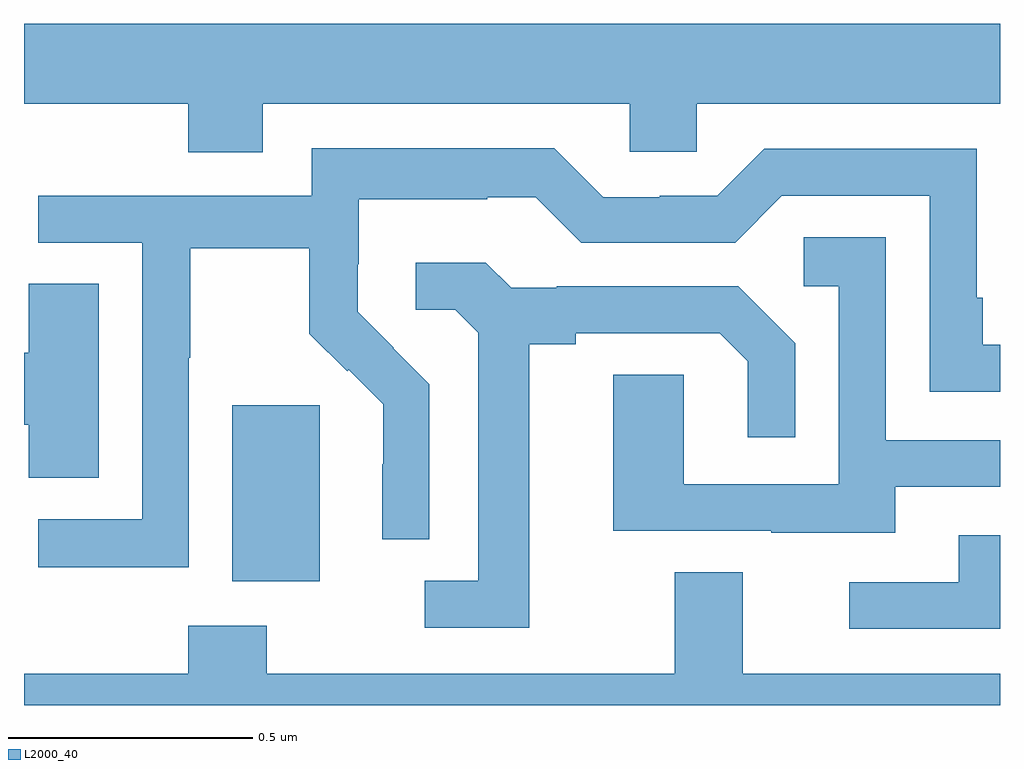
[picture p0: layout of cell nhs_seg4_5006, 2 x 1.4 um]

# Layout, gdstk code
import gdstk
lib = gdstk.Library(unit=1e-6, precision=1e-09)
def R(c, l, rs):  # rectangles x0, y0, x1, y1
    for r in rs: c.add(gdstk.rectangle(r[:2], r[2:], *l))
def P(c, l, *ps):  # polygons
    for p in ps: c.add(gdstk.Polygon(p, *l))
L2000_40 = (2000, 40)

nhs_seg4_5006 = lib.new_cell('nhs_seg4_5006')
R(nhs_seg4_5006, L2000_40, [(172.427,817.154,172.606,817.515)])
P(nhs_seg4_5006, L2000_40, [(172.489,818.132),(173.241,818.132),(173.241,818.034),(173.379,818.034),(173.379,818.132),(174,818.132),(174,818.296),(172,818.296),(172,818.132),(172.337,818.132),(172.337,818.033),(172.489,818.033)],
  [(172.338,817.612),(172.341,817.612),(172.341,817.836),(172.585,817.836),(172.585,817.661),(172.662,817.584),(172.665,817.587),(172.736,817.517),(172.736,817.394),(172.734,817.394),(172.734,817.24),(172.83,817.24),(172.83,817.558),(172.757,817.631),(172.758,817.632),(172.684,817.706),(172.684,817.803),(172.686,817.803),(172.686,817.937),(172.949,817.937),(172.949,817.941),(173.049,817.941),(173.142,817.848),(173.457,817.848),(173.553,817.944),(173.856,817.944),(173.856,817.542),(174,817.542),(174,817.638),(173.965,817.638),(173.965,817.735),(173.952,817.735),(173.952,818.04),(173.517,818.04),(173.421,817.944),(173.303,817.944),(173.303,817.941),(173.187,817.941),(173.087,818.041),(172.59,818.041),(172.59,817.944),(172.029,817.944),(172.029,817.848),(172.242,817.848),(172.242,817.281),(172.029,817.281),(172.029,817.183),(172.338,817.183)],
  [(173.785,817.347),(174,817.347),(174,817.443),(173.766,817.443),(173.766,817.859),(173.598,817.859),(173.598,817.758),(173.67,817.758),(173.67,817.353),(173.352,817.353),(173.352,817.577),(173.207,817.577),(173.207,817.257),(173.531,817.257),(173.531,817.253),(173.785,817.253)],
  [(173.035,817.64),(173.131,817.64),(173.131,817.662),(173.426,817.662),(173.483,817.605),(173.483,817.449),(173.58,817.449),(173.58,817.642),(173.464,817.758),(173.092,817.758),(173.092,817.755),(172.998,817.755),(172.946,817.807),(172.803,817.807),(172.803,817.71),(172.884,817.71),(172.931,817.663),(172.931,817.155),(172.821,817.155),(172.821,817.059),(173.035,817.059)],
  [(172.153,817.763),(172.01,817.763),(172.01,817.622),(172,817.622),(172,817.475),(172.01,817.475),(172.01,817.366),(172.153,817.366)],
  [(174,817.248),(173.915,817.248),(173.915,817.152),(173.691,817.152),(173.691,817.056),(174,817.056)],
  [(174,816.964),(173.473,816.964),(173.473,817.172),(173.333,817.172),(173.333,816.964),(172.497,816.964),(172.497,817.063),(172.337,817.063),(172.337,816.964),(172,816.964),(172,816.9),(174,816.9)])

lib.write_gds('nhs_seg4_5006.gds')
